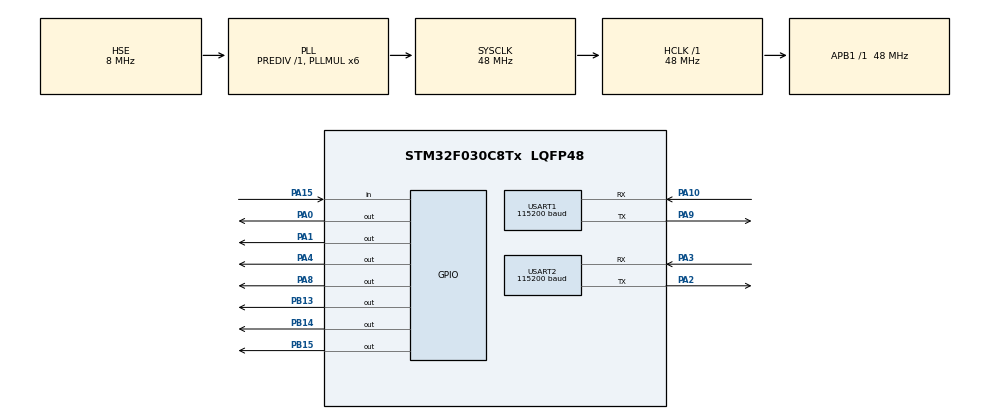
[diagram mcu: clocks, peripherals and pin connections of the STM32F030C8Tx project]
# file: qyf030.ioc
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Mcu.Family=STM32F0
Mcu.Name=STM32F030C8Tx
Mcu.Package=LQFP48
NVIC.TIM3_IRQn=true\:0\:0\:false\:false\:true\:true\:true
NVIC.USART1_IRQn=true\:0\:0\:false\:false\:true\:true\:true
NVIC.USART2_IRQn=true\:0\:0\:false\:false\:true\:true\:true
PA0.GPIO_Speed=GPIO_SPEED_FREQ_MEDIUM
PA0.PinState=GPIO_PIN_RESET
PA0.Signal=GPIO_Output
PA1.GPIO_Speed=GPIO_SPEED_FREQ_MEDIUM
PA1.Signal=GPIO_Output
PA10.Mode=Asynchronous
PA10.Signal=USART1_RX
PA15.GPIO_PuPd=GPIO_PULLUP
PA15.Signal=GPIO_Input
PA2.Mode=Asynchronous
PA2.Signal=USART2_TX
PA3.Mode=Asynchronous
PA3.Signal=USART2_RX
PA4.GPIO_ModeDefaultOutputPP=GPIO_MODE_OUTPUT_PP
PA4.GPIO_Speed=GPIO_SPEED_FREQ_MEDIUM
PA4.Signal=GPIO_Output
PA8.GPIO_Speed=GPIO_SPEED_FREQ_MEDIUM
PA8.PinState=GPIO_PIN_SET
PA8.Signal=GPIO_Output
PA9.Mode=Asynchronous
PA9.Signal=USART1_TX
PB13.GPIO_Speed=GPIO_SPEED_FREQ_MEDIUM
PB13.PinState=GPIO_PIN_SET
PB13.Signal=GPIO_Output
PB14.GPIO_Speed=GPIO_SPEED_FREQ_MEDIUM
PB14.PinState=GPIO_PIN_SET
PB14.Signal=GPIO_Output
PB15.GPIO_Speed=GPIO_SPEED_FREQ_MEDIUM
PB15.PinState=GPIO_PIN_SET
PB15.Signal=GPIO_Output
PF0-OSC_IN.Mode=HSE-External-Oscillator
PF0-OSC_IN.Signal=RCC_OSC_IN
PF1-OSC_OUT.Mode=HSE-External-Oscillator
PF1-OSC_OUT.Signal=RCC_OSC_OUT
ProjectManager.HeapSize=0x200
ProjectManager.StackSize=0x400
ProjectManager.TargetToolchain=MDK-ARM V5.32
RCC.AHBFreq_Value=48000000
RCC.APB1Freq_Value=48000000
RCC.APB1TimFreq_Value=48000000
RCC.HCLKFreq_Value=48000000
RCC.PLLMUL=RCC_PLL_MUL6
RCC.PLLSourceVirtual=RCC_PLLSOURCE_HSE
RCC.SYSCLKFreq_VALUE=48000000
RCC.SYSCLKSource=RCC_SYSCLKSOURCE_PLLCLK
TIM3.AutoReloadPreload=TIM_AUTORELOAD_PRELOAD_ENABLE
USART1.BaudRate=115200
USART1.VirtualMode-Asynchronous=VM_ASYNC
USART2.BaudRate=115200
USART2.VirtualMode-Asynchronous=VM_ASYNC
VP_TIM3_VS_ClockSourceINT.Mode=Internal
board=custom

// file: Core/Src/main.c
/* USER CODE BEGIN Header */
/**
  ******************************************************************************
  * @file           : main.c
  * @brief          : Main program body
  ******************************************************************************
  * @attention
  *
  * Copyright (c) 2022 STMicroelectronics.
  * All rights reserved.
  *
  * This software is licensed under terms that can be found in the LICENSE file
  * in the root directory of this software component.
  * If no LICENSE file comes with this software, it is provided AS-IS.
  *
  ******************************************************************************
  */
/* USER CODE END Header */
#include "main.h"
#include "tim.h"
#include "usart.h"
#include "gpio.h"

/* USER CODE BEGIN Includes */
#include <stdio.h>
#include <string.h>
#include "ad9833.h"
#include "adf4002.h"
#include "ch423.h"
#include <math.h>
#include "delay.h"
#include "ch4230.h"
#include "mc.h"
#include "dac8830.h"

/* USER CODE END Includes */

void SystemClock_Config(void);

int main(void)
{
  /* USER CODE BEGIN 1 */
	int len,flag0=0;
  /* USER CODE END 1 */

  /* MCU Configuration--------------------------------------------------------*/

  /* Reset of all peripherals, Initializes the Flash interface and the Systick. */
  HAL_Init();

  /* Configure the system clock */
  SystemClock_Config();

  /* Initialize all configured peripherals */
  MX_GPIO_Init();
  MX_USART1_UART_Init();
  MX_USART2_UART_Init();
  MX_TIM3_Init();
  /* USER CODE BEGIN 2 */
	Delay_Init(40);

	HAL_Delay(50);

	DAC8830_Init();
	//OCL(0-7)    OCH(9-15)  IO(16-23)(IO+16)
	CH423_Init(GPIOF,7, GPIOF,6);//ch423init (power)
	CH423_Write(CH423_CONF,0x1);

	//CH423_WriteAll(0);
	CH423_WriteOC(0x60);
	Delay_ms(100);
	CH423_WriteAll(0);

	CH4230_Init();//PA11(clk),PA12(da) (control)
	CH4230_Write(CH423_CONF,0x1);
	CH4230_WriteAll(0x17E8);
	U5_BUS_CON(0);
	D12_BUS_CON(0);
	U12_BUS_CON(0);

	HAL_Delay(500);

	MX_USART1_UART_Init();
  MX_USART2_UART_Init();
	SCREEN_EN(0);
	HAL_Delay(500);
	SCREEN_EN(1);

	uspp(2,"page main");
	uspp(2,"\xff\xff\xff");
	//HAL_GPIO_WritePin();(GPIOB,GPIO_PIN_7|GPIO_PIN_8|GPIO_PIN_9,1);

  /* USER CODE END 2 */

  /* Infinite loop */
  /* USER CODE BEGIN WHILE */
  while (1)
  {
	//uspp(1,"page main");

    /* USER CODE END WHILE */

    /* USER CODE BEGIN 3 */

		//uspp(1,"lplp77\r\n");

		if(USART_RX_STA2&0x8000){
			len=USART_RX_STA2&0x3fff;
			switch(USART_RX_BUF2[0])
			{
				case'A':flag0=1;break;
				case'B':flag0=2;break;
				case'C':flag0=3;break;
				case'D':flag0=4;break;
				case'E':flag0=5;break;
				case'F':flag0=6;break;
				case'G':flag0=7;break;
				case'H':flag0=8;break;
				case'I':flag0=9;break;
				case'J':flag0=10;break;
				case'K':flag0=11;break;
				default:flag0=0;break;
			}
			USART_RX_STA2=0;
		}
		if(USART_RX_STA&0x8000){
			len=USART_RX_STA&0x3fff;
			if(USART_RX_BUF[0]=='1'){
				flag0=4;//COMpu to change
				uspp(2,"page amt");
				uspp(2,"\xff\xff\xff");
			}
			else if(USART_RX_BUF[0]=='2'){
				flag0=6;//COMpu to change
				uspp(2,"page fmt");
				uspp(2,"\xff\xff\xff");
			}
			USART_RX_STA=0;
		}
		switch(flag0)
		{
			case 1:DDS_Con();break;
			case 2:PLL_Con();break;
			case 3:yk_Con();break;
			case 4:AMT_Con();break;
			case 5:AMJ_Con();break;
			case 6:FMT_Con();break;
			case 7:FMJ_Con();break;
			case 8:tun_amp_Con();break;
			case 9:OSC_Con();break;
			case 10:POW_AMP_Con();break;
			case 11:lv10_7M();break;
			default: break;
		}
		flag0=0;
  }
  /* USER CODE END 3 */
}

void SystemClock_Config(void)
{
  RCC_OscInitTypeDef RCC_OscInitStruct = {0};
  RCC_ClkInitTypeDef RCC_ClkInitStruct = {0};
  RCC_PeriphCLKInitTypeDef PeriphClkInit = {0};

  /** Initializes the RCC Oscillators according to the specified parameters
  * in the RCC_OscInitTypeDef structure.
  */
  RCC_OscInitStruct.OscillatorType = RCC_OSCILLATORTYPE_HSE;
  RCC_OscInitStruct.HSEState = RCC_HSE_ON;
  RCC_OscInitStruct.PLL.PLLState = RCC_PLL_ON;
  RCC_OscInitStruct.PLL.PLLSource = RCC_PLLSOURCE_HSE;
  RCC_OscInitStruct.PLL.PLLMUL = RCC_PLL_MUL6;
  RCC_OscInitStruct.PLL.PREDIV = RCC_PREDIV_DIV1;
  if (HAL_RCC_OscConfig(&RCC_OscInitStruct) != HAL_OK)
  {
    Error_Handler();
  }
  /** Initializes the CPU, AHB and APB buses clocks
  */
  RCC_ClkInitStruct.ClockType = RCC_CLOCKTYPE_HCLK|RCC_CLOCKTYPE_SYSCLK
                              |RCC_CLOCKTYPE_PCLK1;
  RCC_ClkInitStruct.SYSCLKSource = RCC_SYSCLKSOURCE_PLLCLK;
  RCC_ClkInitStruct.AHBCLKDivider = RCC_SYSCLK_DIV1;
  RCC_ClkInitStruct.APB1CLKDivider = RCC_HCLK_DIV1;

  if (HAL_RCC_ClockConfig(&RCC_ClkInitStruct, FLASH_LATENCY_1) != HAL_OK)
  {
    Error_Handler();
  }
  PeriphClkInit.PeriphClockSelection = RCC_PERIPHCLK_USART1;
  PeriphClkInit.Usart1ClockSelection = RCC_USART1CLKSOURCE_PCLK1;
  if (HAL_RCCEx_PeriphCLKConfig(&PeriphClkInit) != HAL_OK)
  {
    Error_Handler();
  }
}

/* USER CODE BEGIN 4 */

//����printf�ĺ������Դ��ģ�

void uspp(uint16_t usa,char words[]){
	int len;
	len=strlen((const char*)words);

	if(usa==1){
		HAL_UART_Transmit(&huart1,(u8*)words,len,0xffff);
	}
	else if(usa==2){
		HAL_UART_Transmit(&huart2,(u8*)words,len,0xffff);
	}
}
//////////////////////////////////////////////////////////////////

/* USER CODE END 4 */

void Error_Handler(void)
{
  __disable_irq();
  while (1)
  {
  }
}
